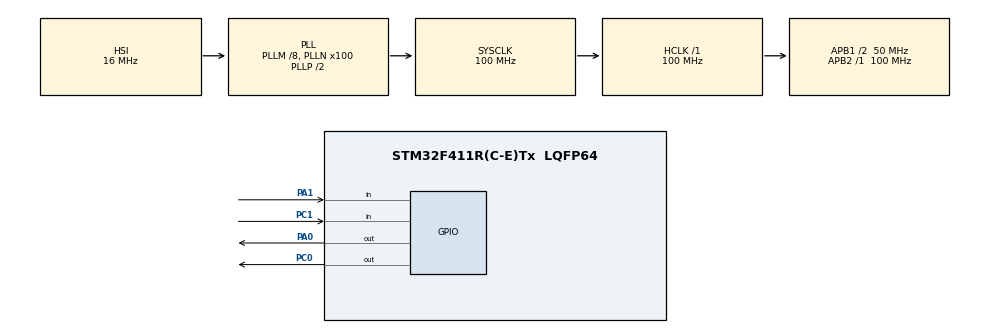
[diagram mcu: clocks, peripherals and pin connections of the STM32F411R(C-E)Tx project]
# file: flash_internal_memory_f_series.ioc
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Mcu.Family=STM32F4
Mcu.Name=STM32F411R(C-E)Tx
Mcu.Package=LQFP64
NVIC.PriorityGroup=NVIC_PRIORITYGROUP_4
PA0-WKUP.Signal=GPIO_Output
PA1.Signal=GPIO_Input
PC0.Signal=GPIO_Output
PC1.Signal=GPIO_Input
ProjectManager.HeapSize=0x200
ProjectManager.StackSize=0x400
ProjectManager.TargetToolchain=STM32CubeIDE
RCC.48MHZClocksFreq_Value=50000000
RCC.AHBFreq_Value=100000000
RCC.APB1CLKDivider=RCC_HCLK_DIV2
RCC.APB1Freq_Value=50000000
RCC.APB1TimFreq_Value=100000000
RCC.APB2Freq_Value=100000000
RCC.APB2TimFreq_Value=100000000
RCC.CortexFreq_Value=100000000
RCC.HCLKFreq_Value=100000000
RCC.HSE_VALUE=25000000
RCC.HSI_VALUE=16000000
RCC.LSE_VALUE=32768
RCC.PLLM=8
RCC.PLLN=100
RCC.SYSCLKFreq_VALUE=100000000
RCC.SYSCLKSource=RCC_SYSCLKSOURCE_PLLCLK
RCC.VCOOutputFreq_Value=200000000
TIM2.Period=65535
TIM2.Prescaler=99
VP_TIM2_VS_ClockSourceINT.Mode=Internal
board=custom

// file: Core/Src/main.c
/* USER CODE BEGIN Header */
/**
 ******************************************************************************
 * @file           : main.c
 * @brief          : Main program body
 ******************************************************************************
 * @attention
 *
 * Copyright (c) 2025 STMicroelectronics.
 * All rights reserved.
 *
 * This software is licensed under terms that can be found in the LICENSE file
 * in the root directory of this software component.
 * If no LICENSE file comes with this software, it is provided AS-IS.
 *
 ******************************************************************************
 */
/* USER CODE END Header */
#include "main.h"

TIM_HandleTypeDef htim2;

void SystemClock_Config(void);
static void MX_GPIO_Init(void);
static void MX_TIM2_Init(void);

/* USER CODE BEGIN 0 */
float Ultrasonic_Read(void)
{
    uint32_t start, end, diff;
    uint32_t timeout;

    // Trigger 10 us pulse
    HAL_GPIO_WritePin(GPIOC, GPIO_PIN_0, GPIO_PIN_SET);
    for(volatile int i=0;i<10;i++); // ~10 us delay
    HAL_GPIO_WritePin(GPIOC, GPIO_PIN_0, GPIO_PIN_RESET);

    // Wait for ECHO high
    timeout = __HAL_TIM_GET_COUNTER(&htim2);
    while(HAL_GPIO_ReadPin(GPIOC, GPIO_PIN_1) == GPIO_PIN_RESET)
    {
        if ((__HAL_TIM_GET_COUNTER(&htim2) - timeout) > 30000) return -1;
    }

    start = __HAL_TIM_GET_COUNTER(&htim2);

    // Wait for ECHO low
    timeout = start;
    while(HAL_GPIO_ReadPin(GPIOC, GPIO_PIN_1) == GPIO_PIN_SET)
    {
        if ((__HAL_TIM_GET_COUNTER(&htim2) - timeout) > 30000) return -1;
    }

    end = __HAL_TIM_GET_COUNTER(&htim2);

    // Handle overflow
    diff = (end >= start) ? (end - start) : ((0xFFFF - start) + end + 1);

    return diff * 0.0343f / 2.0f; // cm
}

/* USER CODE END 0 */

int main(void)
{

  /* MCU Configuration--------------------------------------------------------*/

  /* Reset of all peripherals, Initializes the Flash interface and the Systick. */
  HAL_Init();

  /* Configure the system clock */
  SystemClock_Config();

  /* Initialize all configured peripherals */
  MX_GPIO_Init();
  MX_TIM2_Init();
  /* USER CODE BEGIN 2 */
	HAL_TIM_Base_Start(&htim2);

  /* USER CODE END 2 */

  /* Infinite loop */
	while (1)
	{

    /* USER CODE BEGIN 3 */
		float distance = Ultrasonic_Read();
		HAL_Delay(200);
	}
  /* USER CODE END 3 */
}

void SystemClock_Config(void)
{
  RCC_OscInitTypeDef RCC_OscInitStruct = {0};
  RCC_ClkInitTypeDef RCC_ClkInitStruct = {0};

  /** Configure the main internal regulator output voltage
  */
  __HAL_RCC_PWR_CLK_ENABLE();
  __HAL_PWR_VOLTAGESCALING_CONFIG(PWR_REGULATOR_VOLTAGE_SCALE1);

  /** Initializes the RCC Oscillators according to the specified parameters
  * in the RCC_OscInitTypeDef structure.
  */
  RCC_OscInitStruct.OscillatorType = RCC_OSCILLATORTYPE_HSI;
  RCC_OscInitStruct.HSIState = RCC_HSI_ON;
  RCC_OscInitStruct.HSICalibrationValue = RCC_HSICALIBRATION_DEFAULT;
  RCC_OscInitStruct.PLL.PLLState = RCC_PLL_ON;
  RCC_OscInitStruct.PLL.PLLSource = RCC_PLLSOURCE_HSI;
  RCC_OscInitStruct.PLL.PLLM = 8;
  RCC_OscInitStruct.PLL.PLLN = 100;
  RCC_OscInitStruct.PLL.PLLP = RCC_PLLP_DIV2;
  RCC_OscInitStruct.PLL.PLLQ = 4;
  if (HAL_RCC_OscConfig(&RCC_OscInitStruct) != HAL_OK)
  {
    Error_Handler();
  }

  /** Initializes the CPU, AHB and APB buses clocks
  */
  RCC_ClkInitStruct.ClockType = RCC_CLOCKTYPE_HCLK|RCC_CLOCKTYPE_SYSCLK
                              |RCC_CLOCKTYPE_PCLK1|RCC_CLOCKTYPE_PCLK2;
  RCC_ClkInitStruct.SYSCLKSource = RCC_SYSCLKSOURCE_PLLCLK;
  RCC_ClkInitStruct.AHBCLKDivider = RCC_SYSCLK_DIV1;
  RCC_ClkInitStruct.APB1CLKDivider = RCC_HCLK_DIV2;
  RCC_ClkInitStruct.APB2CLKDivider = RCC_HCLK_DIV1;

  if (HAL_RCC_ClockConfig(&RCC_ClkInitStruct, FLASH_LATENCY_3) != HAL_OK)
  {
    Error_Handler();
  }
}

static void MX_TIM2_Init(void)
{
    TIM_ClockConfigTypeDef sClockSourceConfig = {0};
    TIM_MasterConfigTypeDef sMasterConfig = {0};

    htim2.Instance = TIM2;
    htim2.Init.Prescaler = 84 - 1;      // 84 MHz / 84 = 1 MHz -> 1 tick = 1 µs
    htim2.Init.CounterMode = TIM_COUNTERMODE_UP;
    htim2.Init.Period = 0xFFFF;         // Max 65535 µs (~65 ms)
    htim2.Init.ClockDivision = TIM_CLOCKDIVISION_DIV1;
    htim2.Init.AutoReloadPreload = TIM_AUTORELOAD_PRELOAD_DISABLE;
    if (HAL_TIM_Base_Init(&htim2) != HAL_OK)
    {
        Error_Handler();
    }

    sClockSourceConfig.ClockSource = TIM_CLOCKSOURCE_INTERNAL;
    if (HAL_TIM_ConfigClockSource(&htim2, &sClockSourceConfig) != HAL_OK)
    {
        Error_Handler();
    }

    sMasterConfig.MasterOutputTrigger = TIM_TRGO_RESET;
    sMasterConfig.MasterSlaveMode = TIM_MASTERSLAVEMODE_DISABLE;
    if (HAL_TIMEx_MasterConfigSynchronization(&htim2, &sMasterConfig) != HAL_OK)
    {
        Error_Handler();
    }
}

static void MX_GPIO_Init(void)
{
  GPIO_InitTypeDef GPIO_InitStruct = {0};

  /* GPIO Ports Clock Enable */
  __HAL_RCC_GPIOC_CLK_ENABLE();
  __HAL_RCC_GPIOA_CLK_ENABLE();

  /*Configure GPIO pin Output Level */
  HAL_GPIO_WritePin(GPIOC, GPIO_PIN_0, GPIO_PIN_RESET);

  /*Configure GPIO pin Output Level */
  HAL_GPIO_WritePin(GPIOA, GPIO_PIN_0, GPIO_PIN_RESET);

  /*Configure GPIO pin : PC0 */
  GPIO_InitStruct.Pin = GPIO_PIN_0;
  GPIO_InitStruct.Mode = GPIO_MODE_OUTPUT_PP;
  GPIO_InitStruct.Pull = GPIO_NOPULL;
  GPIO_InitStruct.Speed = GPIO_SPEED_FREQ_LOW;
  HAL_GPIO_Init(GPIOC, &GPIO_InitStruct);

  /*Configure GPIO pin : PC1 */
  GPIO_InitStruct.Pin = GPIO_PIN_1;
  GPIO_InitStruct.Mode = GPIO_MODE_INPUT;
  GPIO_InitStruct.Pull = GPIO_NOPULL;
  HAL_GPIO_Init(GPIOC, &GPIO_InitStruct);

  /*Configure GPIO pin : PA0 */
  GPIO_InitStruct.Pin = GPIO_PIN_0;
  GPIO_InitStruct.Mode = GPIO_MODE_OUTPUT_PP;
  GPIO_InitStruct.Pull = GPIO_NOPULL;
  GPIO_InitStruct.Speed = GPIO_SPEED_FREQ_LOW;
  HAL_GPIO_Init(GPIOA, &GPIO_InitStruct);

  /*Configure GPIO pin : PA1 */
  GPIO_InitStruct.Pin = GPIO_PIN_1;
  GPIO_InitStruct.Mode = GPIO_MODE_INPUT;
  GPIO_InitStruct.Pull = GPIO_NOPULL;
  HAL_GPIO_Init(GPIOA, &GPIO_InitStruct);

}

void Error_Handler(void)
{
	__disable_irq();
	while (1)
	{
	}
}
